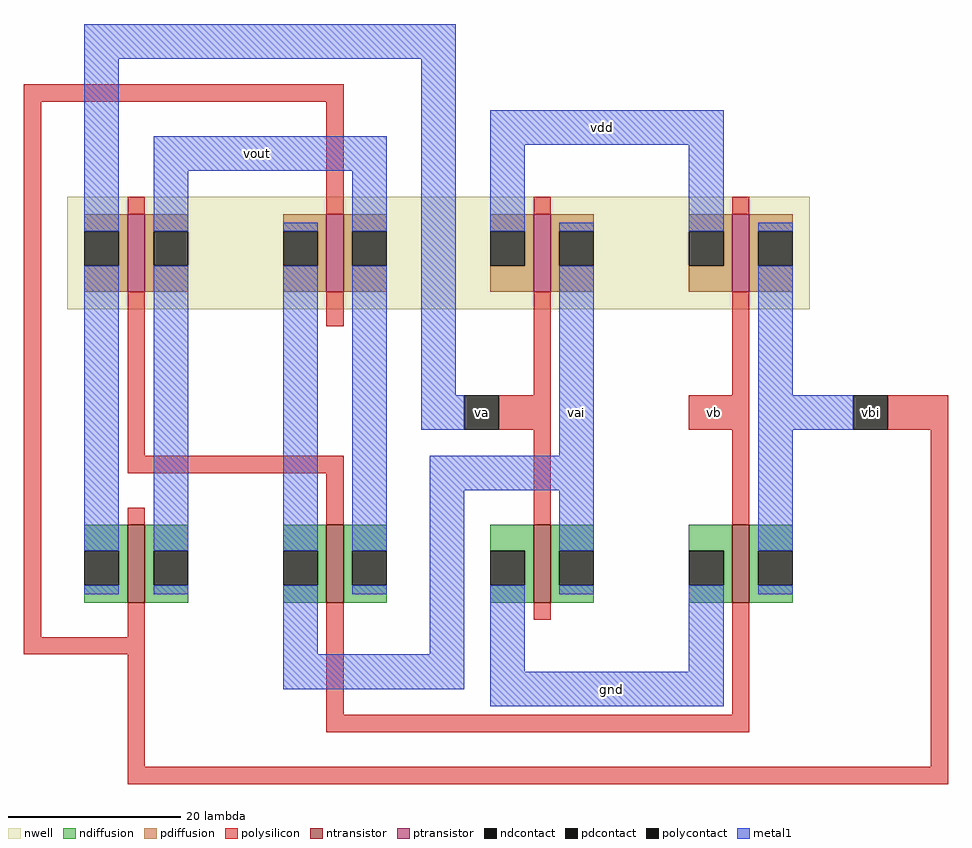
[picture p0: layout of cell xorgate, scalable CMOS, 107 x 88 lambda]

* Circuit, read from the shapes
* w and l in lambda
.subckt xorgate gnd va vai vb vbi vdd vout
M1 vout vbi va VSUBS nfet w=9 l=2
M2 vout vb vai VSUBS nfet w=9 l=2
M3 vai va gnd VSUBS nfet w=9 l=2
M4 vbi vb gnd VSUBS nfet w=9 l=2
M5 vout vb va n1 pfet w=9 l=2
M6 vout vbi vai n1 pfet w=9 l=2
M7 vai va vdd n1 pfet w=9 l=2
M8 vbi vb vdd n1 pfet w=9 l=2
.ends

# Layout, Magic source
magic
tech scmos
<< nwell >>
rect -60 1 26 14
<< polysilicon >>
rect -65 25 -28 27
rect -65 -37 -63 25
rect -53 12 -51 14
rect -30 12 -28 25
rect -6 12 -4 14
rect 17 12 19 14
rect -53 -16 -51 3
rect -30 -1 -28 3
rect -6 -9 -4 3
rect 17 -9 19 3
rect -10 -13 -4 -9
rect 12 -13 19 -9
rect 35 -13 42 -9
rect -53 -18 -28 -16
rect -53 -24 -51 -22
rect -30 -24 -28 -18
rect -6 -24 -4 -13
rect 17 -24 19 -13
rect -53 -37 -51 -33
rect -65 -39 -51 -37
rect -53 -52 -51 -39
rect -30 -46 -28 -33
rect -6 -35 -4 -33
rect 17 -46 19 -33
rect -30 -48 19 -46
rect 40 -52 42 -13
rect -53 -54 42 -52
<< ndiffusion >>
rect -58 -27 -53 -24
rect -54 -31 -53 -27
rect -58 -33 -53 -31
rect -51 -27 -46 -24
rect -51 -31 -50 -27
rect -51 -33 -46 -31
rect -35 -27 -30 -24
rect -31 -31 -30 -27
rect -35 -33 -30 -31
rect -28 -27 -23 -24
rect -28 -31 -27 -27
rect -28 -33 -23 -31
rect -11 -27 -6 -24
rect -7 -31 -6 -27
rect -11 -33 -6 -31
rect -4 -27 1 -24
rect -4 -31 -3 -27
rect -4 -33 1 -31
rect 12 -27 17 -24
rect 16 -31 17 -27
rect 12 -33 17 -31
rect 19 -27 24 -24
rect 19 -31 20 -27
rect 19 -33 24 -31
<< pdiffusion >>
rect -58 10 -53 12
rect -54 6 -53 10
rect -58 3 -53 6
rect -51 10 -46 12
rect -51 6 -50 10
rect -51 3 -46 6
rect -35 10 -30 12
rect -31 6 -30 10
rect -35 3 -30 6
rect -28 10 -23 12
rect -28 6 -27 10
rect -28 3 -23 6
rect -11 10 -6 12
rect -7 6 -6 10
rect -11 3 -6 6
rect -4 10 1 12
rect -4 6 -3 10
rect -4 3 1 6
rect 12 10 17 12
rect 16 6 17 10
rect 12 3 17 6
rect 19 10 24 12
rect 19 6 20 10
rect 19 3 24 6
<< metal1 >>
rect -58 30 -15 34
rect -58 10 -54 30
rect -58 -27 -54 6
rect -58 -32 -54 -31
rect -50 17 -23 21
rect -50 10 -46 17
rect -50 -27 -46 6
rect -50 -32 -46 -31
rect -35 10 -31 11
rect -35 -27 -31 6
rect -35 -39 -31 -31
rect -27 10 -23 17
rect -27 -27 -23 6
rect -19 -9 -15 30
rect -11 20 16 24
rect -11 10 -7 20
rect -3 10 1 11
rect 12 10 16 20
rect 20 10 24 11
rect -19 -13 -14 -9
rect -3 -16 1 6
rect -27 -32 -23 -31
rect -18 -20 1 -16
rect -18 -39 -14 -20
rect -3 -27 1 -20
rect 20 -9 24 6
rect 20 -13 31 -9
rect 20 -27 24 -13
rect -35 -43 -14 -39
rect -11 -41 -7 -31
rect -3 -32 1 -31
rect 12 -41 16 -31
rect 20 -32 24 -31
rect -11 -45 16 -41
<< ntransistor >>
rect -53 -33 -51 -24
rect -30 -33 -28 -24
rect -6 -33 -4 -24
rect 17 -33 19 -24
<< ptransistor >>
rect -53 3 -51 12
rect -30 3 -28 12
rect -6 3 -4 12
rect 17 3 19 12
<< polycontact >>
rect -14 -13 -10 -9
rect 31 -13 35 -9
<< ndcontact >>
rect -58 -31 -54 -27
rect -50 -31 -46 -27
rect -35 -31 -31 -27
rect -27 -31 -23 -27
rect -11 -31 -7 -27
rect -3 -31 1 -27
rect 12 -31 16 -27
rect 20 -31 24 -27
<< pdcontact >>
rect -58 6 -54 10
rect -50 6 -46 10
rect -35 6 -31 10
rect -27 6 -23 10
rect -11 6 -7 10
rect -3 6 1 10
rect 12 6 16 10
rect 20 6 24 10
<< labels >>
rlabel polycontact -12 -11 -12 -11 1 va
rlabel metal1 -1 -11 -1 -11 1 vai
rlabel polysilicon 15 -11 15 -11 1 vb
rlabel polycontact 33 -11 33 -11 1 vbi
rlabel metal1 3 -43 3 -43 1 gnd
rlabel metal1 -38 19 -38 19 1 vout
rlabel metal1 2 22 2 22 1 vdd
<< end >>
